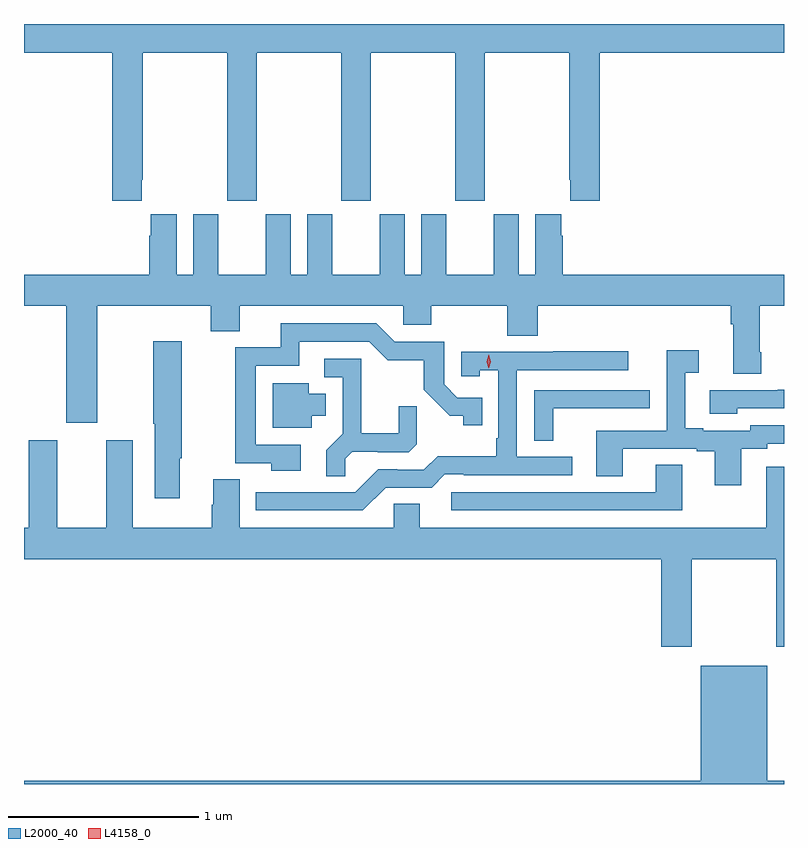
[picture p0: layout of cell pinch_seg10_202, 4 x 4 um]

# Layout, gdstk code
import gdstk
lib = gdstk.Library(unit=1e-6, precision=1e-09)
def P(c, l, *ps):  # polygons
    for p in ps: c.add(gdstk.Polygon(p, *l))
L2000_40 = (2000, 40)
L4158_0 = (4158, 0)

pinch_seg10_202 = lib.new_cell('pinch_seg10_202')
P(pinch_seg10_202, L2000_40, [(772.465,1275.673),(772.47,1275.673),(772.47,1276.34),(772.915,1276.34),(772.915,1275.561),(773.07,1275.561),(773.07,1276.34),(773.515,1276.34),(773.515,1275.561),(773.67,1275.561),(773.67,1276.34),(774.115,1276.34),(774.115,1275.561),(774.27,1275.561),(774.27,1276.34),(774.715,1276.34),(774.715,1275.673),(774.719,1275.673),(774.719,1275.561),(774.875,1275.561),(774.875,1276.34),(775.845,1276.34),(775.845,1276.492),(771.845,1276.492),(771.845,1276.34),(772.31,1276.34),(772.31,1275.561),(772.465,1275.561)],
  [(772.829,1274.875),(772.981,1274.875),(772.981,1275.008),(773.841,1275.008),(773.841,1274.91),(773.988,1274.91),(773.988,1275.008),(774.388,1275.008),(774.388,1274.851),(774.548,1274.851),(774.548,1275.008),(775.565,1275.008),(775.565,1274.912),(775.577,1274.912),(775.577,1274.652),(775.725,1274.652),(775.725,1274.764),(775.717,1274.764),(775.717,1275.008),(775.845,1275.008),(775.845,1275.172),(774.68,1275.172),(774.68,1275.377),(774.673,1275.377),(774.673,1275.49),(774.536,1275.49),(774.536,1275.172),(774.448,1275.172),(774.448,1275.49),(774.317,1275.49),(774.317,1275.172),(774.067,1275.172),(774.067,1275.49),(773.936,1275.49),(773.936,1275.172),(773.848,1275.172),(773.848,1275.49),(773.717,1275.49),(773.717,1275.172),(773.467,1275.172),(773.467,1275.49),(773.336,1275.49),(773.336,1275.172),(773.248,1275.172),(773.248,1275.49),(773.117,1275.49),(773.117,1275.172),(772.867,1275.172),(772.867,1275.49),(772.736,1275.49),(772.736,1275.172),(772.648,1275.172),(772.648,1275.49),(772.511,1275.49),(772.511,1275.377),(772.505,1275.377),(772.505,1275.172),(771.845,1275.172),(771.845,1275.008),(772.067,1275.008),(772.067,1274.394),(772.231,1274.394),(772.231,1275.008),(772.829,1275.008)],
  [(773.302,1274.277),(773.064,1274.277),(773.064,1274.694),(773.293,1274.694),(773.293,1274.82),(773.661,1274.82),(773.76,1274.722),(773.949,1274.722),(773.949,1274.566),(774.086,1274.429),(774.156,1274.429),(774.156,1274.379),(774.257,1274.379),(774.257,1274.526),(774.126,1274.526),(774.057,1274.595),(774.057,1274.82),(773.796,1274.82),(773.7,1274.916),(773.195,1274.916),(773.195,1274.79),(772.956,1274.79),(772.956,1274.181),(773.146,1274.181),(773.146,1274.141),(773.302,1274.141)],
  [(772.666,1274.207),(772.674,1274.207),(772.674,1274.821),(772.525,1274.821),(772.525,1274.389),(772.532,1274.389),(772.532,1273.995),(772.666,1273.995)],
  [(775.621,1274.256),(775.758,1274.256),(775.758,1274.283),(775.845,1274.283),(775.845,1274.379),(775.668,1274.379),(775.668,1274.352),(775.42,1274.352),(775.42,1274.365),(775.324,1274.365),(775.324,1274.656),(775.396,1274.656),(775.396,1274.776),(775.227,1274.776),(775.227,1274.352),(774.857,1274.352),(774.857,1274.113),(774.997,1274.113),(774.997,1274.256),(775.385,1274.256),(775.385,1274.244),(775.481,1274.244),(775.481,1274.064),(775.621,1274.064)],
  [(773.748,1274.052),(773.991,1274.052),(774.06,1274.121),(774.16,1274.121),(774.16,1274.118),(774.73,1274.118),(774.73,1274.214),(774.438,1274.214),(774.438,1274.67),(775.024,1274.67),(775.024,1274.769),(774.631,1274.769),(774.631,1274.766),(774.147,1274.766),(774.147,1274.637),(774.243,1274.637),(774.243,1274.669),(774.342,1274.669),(774.342,1274.311),(774.33,1274.311),(774.33,1274.218),(774.022,1274.218),(773.949,1274.145),(773.81,1274.145),(773.81,1274.148),(773.709,1274.148),(773.589,1274.028),(773.066,1274.028),(773.066,1273.932),(773.628,1273.932)],
  [(773.535,1274.204),(773.572,1274.241),(773.706,1274.241),(773.706,1274.238),(773.871,1274.238),(773.912,1274.279),(773.912,1274.481),(773.818,1274.481),(773.818,1274.338),(773.621,1274.338),(773.621,1274.73),(773.424,1274.73),(773.424,1274.634),(773.523,1274.634),(773.523,1274.335),(773.437,1274.249),(773.437,1274.113),(773.535,1274.113)],
  [(773.359,1274.429),(773.434,1274.429),(773.434,1274.545),(773.344,1274.545),(773.344,1274.602),(773.153,1274.602),(773.153,1274.366),(773.359,1274.366)],
  [(775.599,1274.469),(775.845,1274.469),(775.845,1274.568),(775.813,1274.568),(775.813,1274.565),(775.455,1274.565),(775.455,1274.441),(775.599,1274.441)],
  [(774.63,1274.469),(775.025,1274.469),(775.025,1274.47),(775.138,1274.47),(775.138,1274.565),(774.531,1274.565),(774.531,1274.299),(774.63,1274.299)],
  [(775.359,1273.676),(775.804,1273.676),(775.804,1273.215),(775.845,1273.215),(775.845,1274.161),(775.751,1274.161),(775.751,1273.84),(773.929,1273.84),(773.929,1273.967),(773.79,1273.967),(773.79,1273.84),(772.981,1273.84),(772.981,1274.096),(772.841,1274.096),(772.841,1273.962),(772.834,1273.962),(772.834,1273.84),(772.417,1273.84),(772.417,1274.302),(772.277,1274.302),(772.277,1273.84),(772.021,1273.84),(772.021,1274.302),(771.869,1274.302),(771.869,1273.84),(771.845,1273.84),(771.845,1273.676),(775.199,1273.676),(775.199,1273.215),(775.359,1273.215)],
  [(775.309,1274.171),(775.169,1274.171),(775.169,1274.028),(774.093,1274.028),(774.093,1273.932),(775.309,1273.932)],
  [(775.845,1272.508),(775.756,1272.508),(775.756,1273.114),(775.406,1273.114),(775.406,1272.508),(771.845,1272.508),(771.845,1272.492),(775.845,1272.492)])
P(pinch_seg10_202, L4158_0, [(774.291,1274.679),(774.291,1274.679),(774.281,1274.715),(774.291,1274.75),(774.291,1274.751),(774.291,1274.75),(774.301,1274.715),(774.291,1274.679)])

lib.write_gds('pinch_seg10_202.gds')
